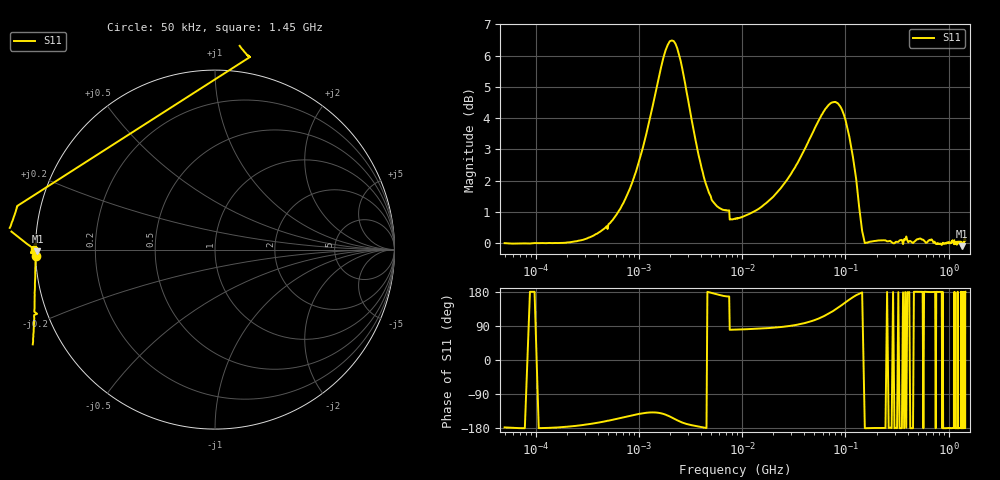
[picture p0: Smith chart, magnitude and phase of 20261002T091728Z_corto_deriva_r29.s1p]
! piloto_deriva / corto_deriva / r29
# HZ S RI R 50
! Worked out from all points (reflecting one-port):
!   501 points, 50 kHz to 1.45 GHz, reference 50 ohm
!   lowest |S11| = -0.1 dB at 1.337 GHz (marker M1), VSWR 181.14, Z = 0.276 - j0.226 ohm
!   phase of S11 starts at -178 deg and turns -2 deg over the sweep
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50000  -0.9994 -0.0373
183000  -0.9999 -0.0525
373000  -1.004 -0.234
658000  -1.013 -0.5103
1180000  -1.134 -0.9769
1630000  -1.471 -1.211
1990000  -1.805 -1.082
2170000  -1.898 -0.9132
2440000  -1.897 -0.6445
3070000  -1.633 -0.2692
4330000  -1.262 -0.0313
7300000  -1.102 0.2417
7750000  0.1948 1.074
8560000  0.1879 1.079
1.99e7  0.1007 1.182
3.16e7  -0.0349 1.312
4.69e7  -0.3226 1.453
6.76e7  -0.86 1.417
7.93e7  -1.139 1.238
9.37e7  -1.354 0.9001
9.82e7  -1.385 0.7836
1e8  -1.392 0.7378
1.18e8  -1.332 0.3397
1.36e8  -1.134 0.1004
1.63e8  -1.002 -0.00409
4.06e8  -1.003 0.0307
1.3375e9  -0.989 -0.00896
1.45e9  -1.011 0.000276
